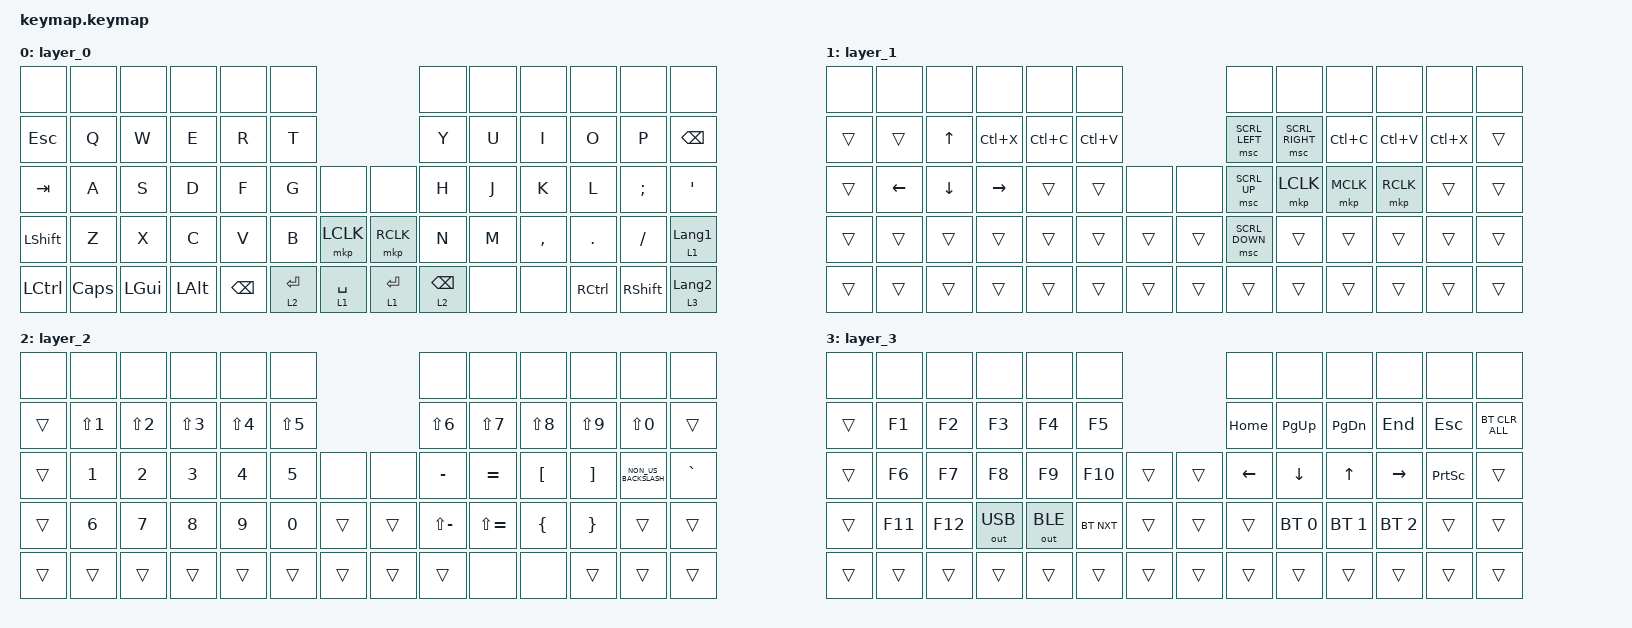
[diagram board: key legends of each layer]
#include <behaviors.dtsi>
#include <dt-bindings/zmk/bt.h>
#include <dt-bindings/zmk/keys.h>
#include <dt-bindings/zmk/outputs.h>
#include <dt-bindings/zmk/pointing.h>

/ {
    combos {
        compatible = "zmk,combos";

        bt_clear {
            bindings = <&bt BT_CLR>;
            key-positions = <28 29>;
            layers = <2>;
        };
    };

    keymap {
        compatible = "zmk,keymap";

        layer_0 {
            bindings = <
&none           &none         &none     &none     &none     &none                                    &none            &none  &none      &none              &none            &none
&kp ESC         &kp Q         &kp W     &kp E     &kp R     &kp T                                    &kp Y            &kp U  &kp I      &kp O              &kp P            &kp BSPC
&kp TAB         &kp A         &kp S     &kp D     &kp F     &kp G         &none        &none         &kp H            &kp J  &kp K      &kp L              &kp SEMI         &kp SQT
&kp LEFT_SHIFT  &kp Z         &kp X     &kp C     &kp V     &kp B         &mkp LCLK    &mkp RCLK     &kp N            &kp M  &kp COMMA  &kp DOT            &kp SLASH        &lt 1 LANGUAGE_1
&kp LCTRL       &kp CAPSLOCK  &kp LGUI  &kp LALT  &kp BSPC  &lt 2 RETURN  &lt 1 SPACE  &lt 1 RETURN  &lt 2 BACKSPACE  &none  &none      &kp RIGHT_CONTROL  &kp RIGHT_SHIFT  &lt 3 LANGUAGE_2
            >;
        };

        layer_1 {
            bindings = <
&none   &none           &none           &none            &none      &none                      &none           &none            &none      &none      &none      &none
&trans  &trans          &kp UP_ARROW    &kp LC(X)        &kp LC(C)  &kp LC(V)                  &msc SCRL_LEFT  &msc SCRL_RIGHT  &kp LC(C)  &kp LC(V)  &kp LC(X)  &trans
&trans  &kp LEFT_ARROW  &kp DOWN_ARROW  &kp RIGHT_ARROW  &trans     &trans     &none   &none   &msc SCRL_UP    &mkp LCLK        &mkp MCLK  &mkp RCLK  &trans     &trans
&trans  &trans          &trans          &trans           &trans     &trans     &trans  &trans  &msc SCRL_DOWN  &trans           &trans     &trans     &trans     &trans
&trans  &trans          &trans          &trans           &trans     &trans     &trans  &trans  &trans          &trans           &trans     &trans     &trans     &trans
            >;
        };

        layer_2 {
            bindings = <
&none   &none             &none             &none       &none       &none                       &none          &none          &none             &none              &none                 &none
&trans  &kp LS(NUMBER_1)  &kp LS(NUMBER_2)  &kp LS(N3)  &kp LS(N4)  &kp LS(N5)                  &kp LS(N6)     &kp LS(N7)     &kp LS(N8)        &kp LS(N9)         &kp LS(N0)            &trans
&trans  &kp N1            &kp N2            &kp N3      &kp N4      &kp N5      &none   &none   &kp MINUS      &kp EQUAL      &kp LEFT_BRACKET  &kp RIGHT_BRACKET  &kp NON_US_BACKSLASH  &kp GRAVE
&trans  &kp N6            &kp N7            &kp N8      &kp N9      &kp N0      &trans  &trans  &kp LS(MINUS)  &kp LS(EQUAL)  &kp LEFT_BRACE    &kp RIGHT_BRACE    &trans                &trans
&trans  &trans            &trans            &trans      &trans      &trans      &trans  &trans  &trans         &none          &none             &trans             &trans                &trans
            >;
        };

        layer_3 {
            bindings = <
&none   &none    &none    &none         &none         &none                       &none     &none         &none          &none         &none            &none
&trans  &kp F1   &kp F2   &kp F3        &kp F4        &kp F5                      &kp HOME  &kp PG_UP     &kp PAGE_DOWN  &kp END       &kp ESCAPE       &bt BT_CLR_ALL
&trans  &kp F6   &kp F7   &kp F8        &kp F9        &kp F10     &trans  &trans  &kp LEFT  &kp DOWN      &kp UP_ARROW   &kp RIGHT     &kp PRINTSCREEN  &trans
&trans  &kp F11  &kp F12  &out OUT_USB  &out OUT_BLE  &bt BT_NXT  &trans  &trans  &trans    &bt BT_SEL 0  &bt BT_SEL 1   &bt BT_SEL 2  &trans           &trans
&trans  &trans   &trans   &trans        &trans        &trans      &trans  &trans  &trans    &trans        &trans         &trans        &trans           &trans
            >;
        };
    };
};
